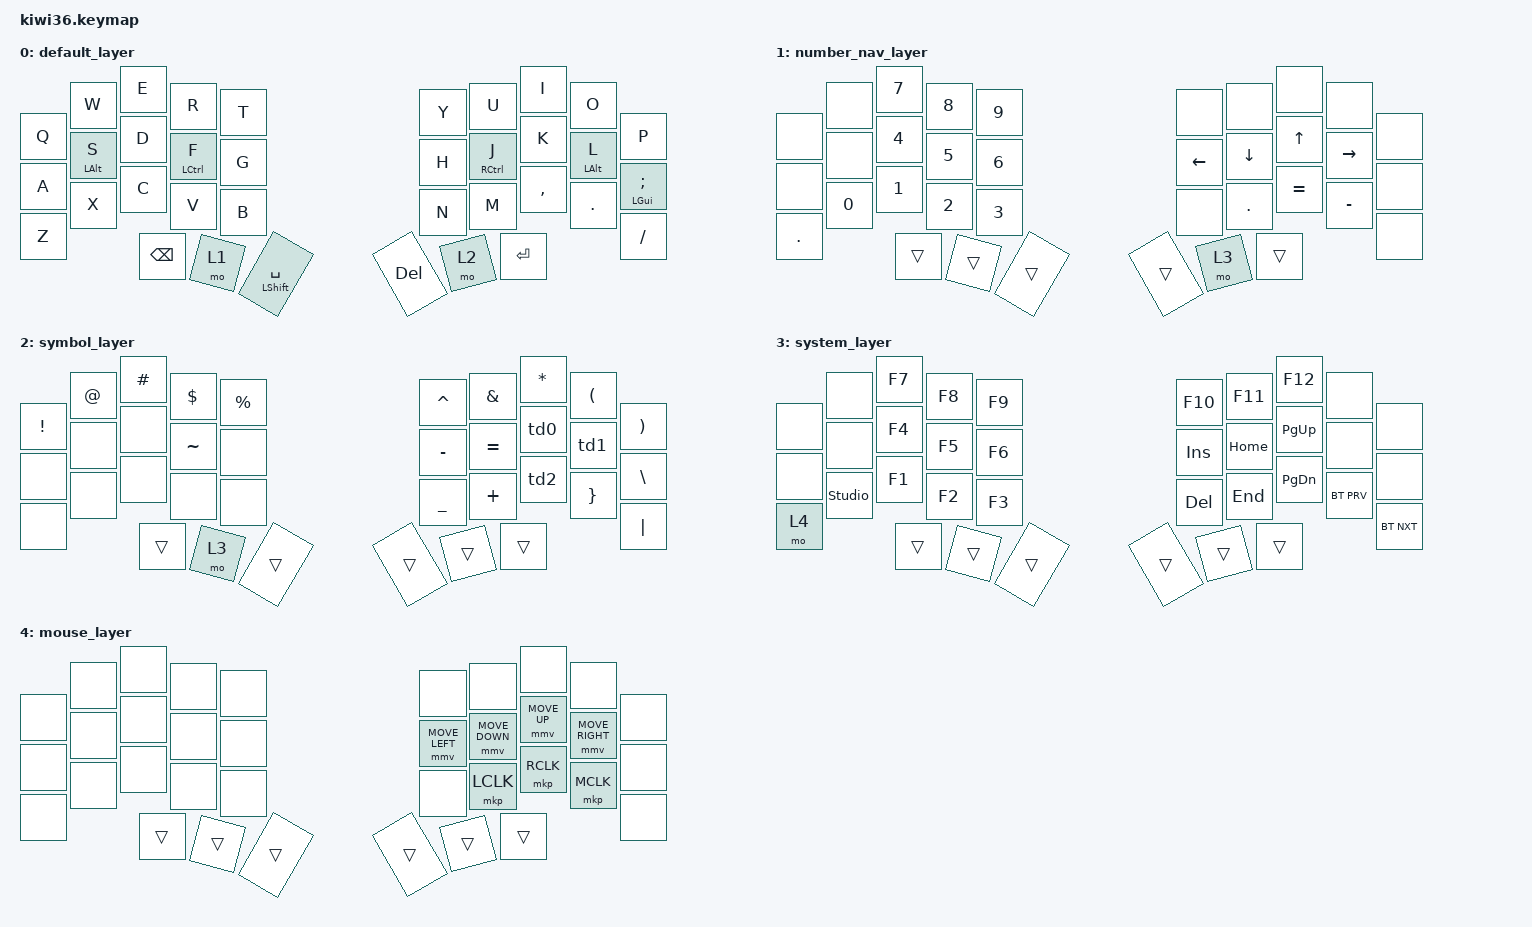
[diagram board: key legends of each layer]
/*
 * Copyright (c) 2020 The ZMK Contributors
 *
 * SPDX-License-Identifier: MIT
 */

#include <behaviors.dtsi>
#include <dt-bindings/zmk/keys.h>
#include <dt-bindings/zmk/bt.h>
#include <dt-bindings/zmk/pointing.h>

/ {
        combos {
                compatible = "zmk,combos";
                combo_studio_unlock {
                        timeout-ms = <50>;
                        key-positions = <0 1>;
                        bindings = <&studio_unlock>;
                };
                combo_tab {
                        timeout-ms = <50>;
                        key-positions = <10 11>;
                        bindings = <&kp TAB>;
                };
                combo_bspc {
                        timeout-ms = <50>;
                        key-positions = <12 13>;
                        bindings = <&kp BSPC>;
                };
                combo_esc {
                        timeout-ms = <50>;
                        key-positions = <16 17>;
                        bindings = <&kp ESC>;
                };
        };

        behaviors {
                td0: open_parent_mod_tap {
                        compatible = "zmk,behavior-tap-dance";
                        #binding-cells = <0>;
                        tapping-term-ms = <400>;
                        bindings = <&kp LPAR>, <&kp LBKT>, <&kp LBRC>;
                };
                td1: close_parent_mod_tap {
                        compatible = "zmk,behavior-tap-dance";
                        #binding-cells = <0>;
                        tapping-term-ms = <400>;
                        bindings = <&kp RPAR>, <&kp RBKT>, <&kp RBRC>;
                };
                td2: quote_mod_tap {
                        compatible = "zmk,behavior-tap-dance";
                        #binding-cells = <0>;
                        tapping-term-ms = <400>;
                        bindings = <&kp SINGLE_QUOTE>, <&kp DQT>, <&kp GRAV>;
                };
                ht_hp: hold_tap_hp {
                        compatible = "zmk,behavior-hold-tap";
                        #binding-cells = <2>;
                        flavor = "hold-preferred";
                        tapping-term-ms = <200>;
                        quick-tap-ms = <50>;
                        require-prior-idle-ms = <0>;
                        bindings = <&kp>, <&kp>;
                };
                ht_tp: hold_tap_tp {
                        compatible = "zmk,behavior-hold-tap";
                        #binding-cells = <2>;
                        flavor = "tap-preferred";
                        tapping-term-ms = <200>;
                        quick-tap-ms = <50>;
                        require-prior-idle-ms = <0>;
                        bindings = <&kp>, <&kp>;
                };
                ht_tp_ret: retro_hold_tap {
                        compatible = "zmk,behavior-hold-tap";
                        #binding-cells = <2>;
                        flavor = "tap-preferred";
                        tapping-term-ms = <200>;
                        quick-tap-ms = <50>;
                        require-prior-idle-ms = <0>;
                        bindings = <&kp>, <&kp>;
                        retro-tap;
                };
        };

        keymap {
                compatible = "zmk,keymap";

                default_layer {
// -----------------------------------------------------------------------------------------
// |  Q  |  W  |  E  |  R  |  T  |   |  Y  |  U   |  I  |  O  |  P  |
// |  A  |  S  |  D  |  F  |  G  |   |  H  |  J   |  K  |  L  |  ;  |
// |  Z  |  X  |  C  |  V  |  B  |   |  N  |  M   |  ,  |  .  |  /  |
//              | GUI | LWR | SPC |   | ENT | RSE  | ALT |
                        bindings = <
   &kp Q   &kp W         &kp E    &kp R          &kp T                 &kp Y   &kp U          &kp I     &kp O          &kp P
   &kp A   &ht_tp LALT S &kp D    &ht_tp LCTRL F &kp G                 &kp H   &ht_tp RCTRL J &kp K     &ht_tp LALT L  &ht_tp LGUI SEMI
   &kp Z   &kp X         &kp C    &kp V          &kp B                 &kp N   &kp M          &kp COMMA &kp DOT        &kp FSLH
                          &kp BSPC &mo 1          &ht_hp LSHIFT SPC     &kp RET &mo 2          &kp DEL
                        >;
                };
                number_nav_layer {
// -----------------------------------------------------------------------------------------
// |     |     |  7  |  8  |  9  |   |     |     |     |     |     |
// |     |     |  4  |  5  |  6  |   | LFT | DWN |  UP | RGT |     |
// |  .  |  0  |  1  |  2  |  3  |   |     |  .  |  =  |  -  |     |
//              | GUI |     | SPC |   | ENT |     | ALT |
                        bindings = <
   &none      &none       &kp N7       &kp N8       &kp N9         &none    &none    &none      &none     &none
   &none      &none       &kp N4       &kp N5       &kp N6         &kp LEFT &kp DOWN &kp UP     &kp RIGHT &none
   &kp DOT    &kp N0      &kp N1       &kp N2       &kp N3         &none    &kp DOT  &kp EQUAL  &kp MINUS &none
                          &trans       &trans       &trans         &trans   &mo 3    &trans
                        >;
                };

                symbol_layer {
// -----------------------------------------------------------------------------------------
// |  !  |  @  |  #  |  $  |  %  |   |  ^  |  &  |  *  |  (  |  )  |
// |     |     |     |  ~  |     |   |  -  |  =  |  [  |  ]  |  \  |
// |     |     |     |     |     |   |  _  |  +  |  '  |  }  | "|" |
//              | GUI |     | SPC |   | ENT |     | ALT |
                        bindings = <
   &kp EXCL  &kp AT     &kp HASH   &kp DLLR   &kp PRCNT       &kp CARET &kp AMPS  &kp ASTRK &kp LPAR &kp RPAR
   &none     &none      &none      &kp TILDE  &none           &kp MINUS &kp EQUAL &td0      &td1     &kp BSLH
   &none     &none      &none      &none      &none           &kp UNDER &kp PLUS  &td2      &kp RBRC &kp PIPE
                        &trans     &mo 3      &trans          &trans    &trans    &trans
                        >;
                };

                system_layer {
                        bindings = <
   &none        &none              &kp F7     &kp F8  &kp F9      &kp F10  &kp F11  &kp F12    &none      &none
   &none        &none              &kp F4     &kp F5  &kp F6      &kp INS  &kp HOME &kp PG_UP  &none      &none
   &mo 4        &studio_unlock     &kp F1     &kp F2  &kp F3      &kp DEL  &kp END  &kp PG_DN  &bt BT_PRV &bt BT_NXT
                &trans             &trans     &trans  &trans      &trans   &trans
                        >;
                };
                mouse_layer {
                        bindings = <
   &none     &none     &none     &none  &none      &none           &none          &none         &none           &none
   &none     &none     &none     &none  &none      &mmv MOVE_LEFT  &mmv MOVE_DOWN &mmv MOVE_UP  &mmv MOVE_RIGHT &none
   &none     &none     &none     &none  &none      &none           &mkp LCLK      &mkp RCLK     &mkp MCLK       &none
                       &trans    &trans &trans     &trans           &trans        &trans
                        >;
                };
        };
};
